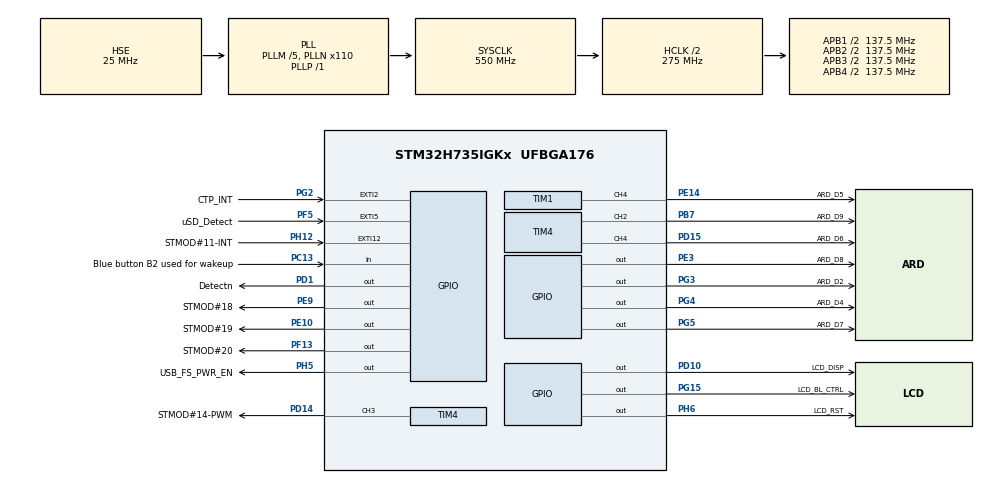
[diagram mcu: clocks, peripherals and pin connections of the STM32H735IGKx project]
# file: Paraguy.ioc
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Mcu.Family=STM32H7
Mcu.Name=STM32H735IGKx
Mcu.Package=UFBGA176
NVIC.PriorityGroup=NVIC_PRIORITYGROUP_4
PA0_C.GPIO_Label=ARD_A2
PA0_C.Signal=ADCx_INP0
PA1.GPIO_Label=RMII_REF_CLK
PA1.GPIO_Speed=GPIO_SPEED_FREQ_LOW
PA1.Signal=ETH_REF_CLK
PA10.GPIO_Label=USB_FS_ID
PA10.Signal=USB_OTG_HS_ID
PA11.GPIO_Label=USB_FS_DM
PA11.Signal=USB_OTG_HS_DM
PA12.GPIO_Label=USB_FS_DP
PA12.Signal=USB_OTG_HS_DP
PA13(JTMS/SWDIO).GPIO_Label=JTMS
PA13(JTMS/SWDIO).Mode=Trace_Asynchronous_SW
PA13(JTMS/SWDIO).Signal=DEBUG_JTMS-SWDIO
PA14(JTCK/SWCLK).GPIO_Label=JTCK
PA14(JTCK/SWCLK).Mode=Trace_Asynchronous_SW
PA14(JTCK/SWCLK).Signal=DEBUG_JTCK-SWCLK
PA15(JTDI).GPIO_Label=JTDI
PA15(JTDI).Signal=DEBUG_JTDI
PA1_C.GPIO_Label=ARD_A3
PA1_C.Signal=ADCx_INP1
PA2.GPIO_Label=RMII_MDIO
PA2.GPIO_Speed=GPIO_SPEED_FREQ_LOW
PA2.Signal=ETH_MDIO
PA3.GPIO_Label=LCD_B5
PA3.GPIO_Speed=GPIO_SPEED_FREQ_LOW
PA3.Signal=LTDC_B5
PA4.GPIO_Label=LCD_VSYNC
PA4.GPIO_Speed=GPIO_SPEED_FREQ_LOW
PA4.Signal=LTDC_VSYNC
PA5.GPIO_Label=DAC1_OUT2
PA5.Signal=COMP_DAC12_group
PA6.GPIO_Label=LCD_G2
PA6.GPIO_Speed=GPIO_SPEED_FREQ_LOW
PA6.Signal=LTDC_G2
PA8.GPIO_Label=LCD_B3
PA8.GPIO_Speed=GPIO_SPEED_FREQ_LOW
PA8.Signal=LTDC_B3
PA9.GPIO_Label=USB_FS_VBUS
PA9.Signal=USB_OTG_HS_VBUS
PB0.GPIO_Label=LCD_G1
PB0.GPIO_Speed=GPIO_SPEED_FREQ_LOW
PB0.Signal=LTDC_G1
PB1.GPIO_Label=LCD_G0
PB1.GPIO_Speed=GPIO_SPEED_FREQ_LOW
PB1.Signal=LTDC_G0
PB10.GPIO_Label=RMII_RX_ER
PB10.Signal=ETH_RX_ER
PB11.GPIO_Label=RMII_TX_EN
PB11.GPIO_Speed=GPIO_SPEED_FREQ_LOW
PB11.Signal=ETH_TX_EN
PB13.GPIO_Label=RMII_TXD1
PB13.GPIO_Speed=GPIO_SPEED_FREQ_LOW
PB13.Signal=ETH_TXD1
PB14.GPIO_Label=ARD_D1
PB14.GPIO_PuPd=GPIO_NOPULL
PB14.Signal=USART1_TX
PB15.GPIO_Label=ARD_D0
PB15.GPIO_PuPd=GPIO_NOPULL
PB15.Signal=USART1_RX
PB2.GPIO_Label=OCSPI1_DQS
PB2.Signal=OCTOSPIM_P1_DQS
PB3(JTDO/TRACESWO).GPIO_Label=JTDO
PB3(JTDO/TRACESWO).Mode=Trace_Asynchronous_SW
PB3(JTDO/TRACESWO).Signal=DEBUG_JTDO-SWO
PB4(NJTRST).GPIO_Label=NJTRST
PB4(NJTRST).Signal=DEBUG_JTRST
PB5.GPIO_Label=FDCAN2_RX
PB5.Signal=FDCAN2_RX
PB6.GPIO_Label=FDCAN2_TX
PB6.Signal=FDCAN2_TX
PB7.GPIO_Label=ARD_D9
PB7.Signal=S_TIM4_CH2
PB8.GPIO_Label=LCD_B6
PB8.GPIO_Speed=GPIO_SPEED_FREQ_LOW
PB8.Signal=LTDC_B6
PB9.GPIO_Label=LCD_B7
PB9.GPIO_Speed=GPIO_SPEED_FREQ_LOW
PB9.Signal=LTDC_B7
PC0.GPIO_Label=ARD_A0
PC0.Signal=ADCx_INP10
PC1.GPIO_Label=RMII_MDC
PC1.GPIO_Speed=GPIO_SPEED_FREQ_LOW
PC1.Signal=ETH_MDC
PC10.GPIO_Label=SDIO1_D2
PC10.Signal=SDMMC1_D2
PC11.GPIO_Label=SDIO1_D3
PC11.Signal=SDMMC1_D3
PC12.GPIO_Label=SDIO1_CK
PC12.Signal=SDMMC1_CK
PC13.GPIO_Label=Blue button B2 used for wakeup
PC13.Signal=GPIO_Input
PC14-OSC32_IN.Mode=LSE-External-Oscillator
PC14-OSC32_IN.Signal=RCC_OSC32_IN
PC15-OSC32_OUT.Mode=LSE-External-Oscillator
PC15-OSC32_OUT.Signal=RCC_OSC32_OUT
PC2.Signal=S_CKOUTDFSDM1
PC2_C.GPIO_Label=ARD_A4
PC2_C.Signal=ADC3_INP0
PC3.Signal=S_DATAIN1DFSDM1
PC3_C.GPIO_Label=ARD_A5
PC3_C.Signal=ADC3_INP1
PC4.GPIO_Label=RMII_RXD0
PC4.GPIO_Speed=GPIO_SPEED_FREQ_LOW
PC4.Signal=ETH_RXD0
PC5.GPIO_Label=RMII_RXD1
PC5.GPIO_Speed=GPIO_SPEED_FREQ_LOW
PC5.Signal=ETH_RXD1
PC6.GPIO_Label=LCD_HSYNC
PC6.GPIO_Speed=GPIO_SPEED_FREQ_LOW
PC6.Signal=LTDC_HSYNC
PC7.GPIO_Label=LCD_G6
PC7.GPIO_Speed=GPIO_SPEED_FREQ_LOW
PC7.Signal=LTDC_G6
PC8.GPIO_Label=SDIO1_D0
PC8.Signal=SDMMC1_D0
PC9.GPIO_Label=SDIO1_D1
PC9.Signal=SDMMC1_D1
PD0.GPIO_Label=LCD_B1
PD0.GPIO_Speed=GPIO_SPEED_FREQ_LOW
PD0.Signal=LTDC_B1
PD1.GPIO_Label=Detectn
PD1.GPIO_PuPd=GPIO_NOPULL
PD1.Signal=GPIO_Output
PD10.GPIO_Label=LCD_DISP
PD10.GPIO_Speed=GPIO_SPEED_FREQ_LOW
PD10.Signal=GPIO_Output
PD11.GPIO_Label=OCSPI1_IO0
PD11.Signal=OCTOSPIM_P1_IO0
PD12.GPIO_Label=OCSPI1_IO1
PD12.Signal=OCTOSPIM_P1_IO1
PD13.GPIO_Label=OCSPI1_IO3
PD13.Signal=OCTOSPIM_P1_IO3
PD14.GPIO_Label=STMOD\#14-PWM
PD14.Signal=S_TIM4_CH3
PD15.GPIO_Label=ARD_D6
PD15.Signal=S_TIM4_CH4
PD2.GPIO_Label=SDIO1_CMD
PD2.Signal=SDMMC1_CMD
PD3.GPIO_Label=LCD_G7
PD3.GPIO_Speed=GPIO_SPEED_FREQ_LOW
PD3.Signal=LTDC_G7
PD4.GPIO_Label=OCSPI1_IO4
PD4.Signal=OCTOSPIM_P1_IO4
PD5.GPIO_Label=OCSPI1_IO5
PD5.Signal=OCTOSPIM_P1_IO5
PD6.GPIO_Label=LCD_B2
PD6.GPIO_Speed=GPIO_SPEED_FREQ_LOW
PD6.Signal=LTDC_B2
PD7.GPIO_Label=OCSPI1_IO7
PD7.Signal=OCTOSPIM_P1_IO7
PD8.GPIO_Label=T_VCP_TX
PD8.GPIO_PuPd=GPIO_NOPULL
PD8.Signal=USART3_TX
PD9.GPIO_Label=T_VCP_RX
PD9.GPIO_PuPd=GPIO_NOPULL
PD9.Signal=USART3_RX
PE0.GPIO_Label=LCD_R0
PE0.GPIO_Speed=GPIO_SPEED_FREQ_LOW
PE0.Signal=LTDC_R0
PE1.GPIO_Label=LCD_R6
PE1.GPIO_Speed=GPIO_SPEED_FREQ_LOW
PE1.Signal=LTDC_R6
PE10.GPIO_Label=STMOD\#19
PE10.Signal=GPIO_Output
PE11.GPIO_Label=LCD_G3
PE11.GPIO_Speed=GPIO_SPEED_FREQ_LOW
PE11.Signal=LTDC_G3
PE12.GPIO_Label=LCD_B4
PE12.GPIO_Speed=GPIO_SPEED_FREQ_LOW
PE12.Signal=LTDC_B4
PE13.GPIO_Label=LCD_DE
PE13.GPIO_Speed=GPIO_SPEED_FREQ_LOW
PE13.Signal=LTDC_DE
PE14.GPIO_Label=ARD_D5
PE14.Signal=S_TIM1_CH4
PE15.GPIO_Label=LCD_R7
PE15.GPIO_Speed=GPIO_SPEED_FREQ_LOW
PE15.Signal=LTDC_R7
PE2.GPIO_Label=OCSPI1_IO2
PE2.Signal=OCTOSPIM_P1_IO2
PE3.GPIO_Label=ARD_D8
PE3.Signal=GPIO_Output
PE4.GPIO_Label=SAI4_D2
PE4.Signal=SAI4_D2
PE5.GPIO_Label=SAI4_CK2
PE5.Signal=SAI4_CK2
PE6.GPIO_Label=SAI1_SD_A
PE6.Signal=SAI1_SD_A
PE9.GPIO_Label=STMOD\#18
PE9.Signal=GPIO_Output
PF0.GPIO_Label=OCSPI2_IO0
PF0.Signal=OCTOSPIM_P2_IO0
PF1.GPIO_Label=OCSPI2_IO1
PF1.Signal=OCTOSPIM_P2_IO1
PF10.GPIO_Label=OCSPI1_CLK
PF10.Signal=OCTOSPIM_P1_CLK
PF11.GPIO_Label=SPI5_MOSI
PF11.Signal=SPI5_MOSI
PF12.GPIO_Label=OCSPI2_DQS
PF12.Signal=OCTOSPIM_P2_DQS
PF13.GPIO_Label=STMOD\#20
PF13.Signal=GPIO_Output
PF14.GPIO_Label=I2C4_SCL
PF14.GPIO_Pu=GPIO_PULLUP
PF14.Signal=I2C4_SCL
PF15.GPIO_Label=I2C4_SDA
PF15.GPIO_Pu=GPIO_PULLUP
PF15.Signal=I2C4_SDA
PF2.GPIO_Label=OCSPI2_IO2
PF2.Signal=OCTOSPIM_P2_IO2
PF3.GPIO_Label=OCSPI2_IO3
PF3.Signal=OCTOSPIM_P2_IO3
PF4.GPIO_Label=OCSPI2_CLK
PF4.Signal=OCTOSPIM_P2_CLK
PF5.GPIO_Label=uSD_Detect
PF5.Signal=GPXTI5
PF6.GPIO_Label=SAI1_SD_B
PF6.Signal=SAI1_SD_B
PF7.GPIO_Label=SAI1_MCLK_B
PF7.Signal=SAI1_MCLK_B
PF8.GPIO_Label=SAI1_SCK_B
PF8.Signal=SAI1_SCK_B
PF9.GPIO_Label=SAI1_FS_B
PF9.Signal=SAI1_FS_B
PG0.GPIO_Label=OCSPI2_IO4
PG0.Signal=OCTOSPIM_P2_IO4
PG1.GPIO_Label=OCSPI2_IO5
PG1.Signal=OCTOSPIM_P2_IO5
PG10.GPIO_Label=OCSPI2_IO6
PG10.Signal=OCTOSPIM_P2_IO6
PG11.GPIO_Label=OCSPI2_IO7
PG11.Signal=OCTOSPIM_P2_IO7
PG12.GPIO_Label=OCSPI2_NCS
PG12.Signal=OCTOSPIM_P2_NCS
PG14.GPIO_Label=LCD_B0
PG14.GPIO_Speed=GPIO_SPEED_FREQ_LOW
PG14.Signal=LTDC_B0
PG15.GPIO_Label=LCD_BL_CTRL
PG15.GPIO_Speed=GPIO_SPEED_FREQ_LOW
PG15.Signal=GPIO_Output
PG2.GPIO_Label=CTP_INT
PG2.Signal=GPXTI2
PG3.GPIO_Label=ARD_D2
PG3.Signal=GPIO_Output
PG4.GPIO_Label=ARD_D4
PG4.Signal=GPIO_Output
PG5.GPIO_Label=ARD_D7
PG5.Signal=GPIO_Output
PG6.GPIO_Label=OCSPI1_NCS
PG6.Signal=OCTOSPIM_P1_NCS
PG7.GPIO_Label=LCD_CLK
PG7.GPIO_Speed=GPIO_SPEED_FREQ_LOW
PG7.Signal=LTDC_CLK
PG9.GPIO_Label=OCSPI1_IO6
PG9.Signal=OCTOSPIM_P1_IO6
PH0-OSC_IN.Mode=HSE-External-Oscillator
PH0-OSC_IN.Signal=RCC_OSC_IN
PH1-OSC_OUT.Mode=HSE-External-Oscillator
PH1-OSC_OUT.Signal=RCC_OSC_OUT
PH10.GPIO_Label=LCD_R4
PH10.GPIO_Speed=GPIO_SPEED_FREQ_LOW
PH10.Signal=LTDC_R4
PH11.GPIO_Label=LCD_R5
PH11.GPIO_Speed=GPIO_SPEED_FREQ_LOW
PH11.Signal=LTDC_R5
PH12.GPIO_Label=STMOD\#11-INT
PH12.Signal=GPXTI12
PH13.GPIO_Label=FDCAN1_TX
PH13.Signal=FDCAN1_TX
PH14.GPIO_Label=FDCAN1_RX
PH14.Signal=FDCAN1_RX
PH15.GPIO_Label=LCD_G4
PH15.GPIO_Speed=GPIO_SPEED_FREQ_LOW
PH15.Signal=LTDC_G4
PH2.GPIO_Label=ARD_A1
PH2.Signal=ADC3_INP13
PH3.GPIO_Label=LCD_R1
PH3.GPIO_Speed=GPIO_SPEED_FREQ_LOW
PH3.Signal=LTDC_R1
PH4.GPIO_Label=LCD_G5
PH4.GPIO_Speed=GPIO_SPEED_FREQ_LOW
PH4.Signal=LTDC_G5
PH5.GPIO_Label=USB_FS_PWR_EN
PH5.Signal=GPIO_Output
PH6.GPIO_Label=LCD_RST
PH6.GPIO_Speed=GPIO_SPEED_FREQ_LOW
PH6.Signal=GPIO_Output
PH7.GPIO_Label=SPI5_MISO
PH7.Signal=SPI5_MISO
PH8.GPIO_Label=LCD_R2
PH8.GPIO_Speed=GPIO_SPEED_FREQ_LOW
PH8.Signal=LTDC_R2
PH9.GPIO_Label=LCD_R3
PH9.GPIO_Speed=GPIO_SPEED_FREQ_LOW
PH9.Signal=LTDC_R3
ProjectManager.HeapSize=0x200
ProjectManager.StackSize=0x400
ProjectManager.TargetToolchain=STM32CubeIDE
RCC.ADCFreq_Value=80000000
RCC.APB1Freq_Value=137500000
RCC.APB2Freq_Value=137500000
RCC.APB3Freq_Value=137500000
RCC.APB4Freq_Value=137500000
RCC.CortexFreq_Value=550000000
RCC.D1PPRE=RCC_APB3_DIV2
RCC.D2PPRE1=RCC_APB1_DIV2
RCC.D2PPRE2=RCC_APB2_DIV2
RCC.D3PPRE=RCC_APB4_DIV2
RCC.DIVM1=5
RCC.DIVM2=5
RCC.DIVM3=5
RCC.DIVN1=110
RCC.DIVN2=80
RCC.DIVN3=48
RCC.DIVP1=1
RCC.DIVP2=5
RCC.DIVQ1=4
RCC.DIVR3=25
RCC.HCLKFreq_Value=275000000
RCC.HPRE=RCC_HCLK_DIV2
RCC.PLL2FRACN=0
RCC.PLL3FRACN=0
RCC.PLLFRACN=0
RCC.PLLSourceVirtual=RCC_PLLSOURCE_HSE
RCC.SYSCLKFreq_VALUE=550000000
RCC.SYSCLKSource=RCC_SYSCLKSOURCE_PLLCLK
RCC.USBCLockSelection=RCC_USBCLKSOURCE_HSI48
RCC.USBFreq_Value=48000000
SH.ADCx_INP0.0=ADC1_INP0
SH.ADCx_INP0.1=ADC2_INP0
SH.ADCx_INP1.0=ADC2_INP1
SH.ADCx_INP1.1=ADC1_INP1
SH.ADCx_INP10.0=ADC1_INP10
SH.COMP_DAC12_group.0=DAC1_OUT2
SH.S_CKOUTDFSDM1.0=DFSDM1_CKOUT
SH.S_DATAIN1DFSDM1.0=DFSDM1_DATIN1
SH.S_TIM1_CH4.0=TIM1_CH4,PWM Generation4 CH4
SH.S_TIM4_CH2.0=TIM4_CH2,PWM Generation2 CH2
SH.S_TIM4_CH3.0=TIM4_CH3,PWM Generation3 CH3
SH.S_TIM4_CH4.0=TIM4_CH4,PWM Generation4 CH4
TIM1.Channel-PWM\ Generation4\ CH4=TIM_CHANNEL_4
TIM4.Channel-PWM\ Generation2\ CH2=TIM_CHANNEL_2
TIM4.Channel-PWM\ Generation3\ CH3=TIM_CHANNEL_3
TIM4.Channel-PWM\ Generation4\ CH4=TIM_CHANNEL_4
VP_MEMORYMAP_VS_MEMORYMAP.Mode=CurAppReg
board=STM32H735G-DK

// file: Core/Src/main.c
/* USER CODE BEGIN Header */
/**
  ******************************************************************************
  * @file           : main.c
  * @brief          : Main program body
  ******************************************************************************
  * @attention
  *
  * Copyright (c) 2026 STMicroelectronics.
  * All rights reserved.
  *
  * This software is licensed under terms that can be found in the LICENSE file
  * in the root directory of this software component.
  * If no LICENSE file comes with this software, it is provided AS-IS.
  *
  ******************************************************************************
  */
/* USER CODE END Header */
#include "main.h"
#include "tim.h"
#include "gpio.h"

/* USER CODE BEGIN Includes */
#include "stm32h735g_discovery.h"
#include "stm32h735g_discovery_lcd.h"
#include "stm32h735g_discovery_ospi.h"
#include <string.h>

/* USER CODE END Includes */

void SystemClock_Config(void);

int main(void)
{

  /* USER CODE BEGIN 1 */
	MPU_Config();
  /* USER CODE END 1 */

  /* MCU Configuration--------------------------------------------------------*/

  /* Reset of all peripherals, Initializes the Flash interface and the Systick. */
  HAL_Init();

  /* Configure the system clock */
  SystemClock_Config();

  /* Initialize all configured peripherals */
  MX_GPIO_Init();
  MX_TIM1_Init();
  MX_TIM4_Init();
  /* USER CODE BEGIN 2 */
  BSP_OSPI_RAM_Init_t OspiRamInit;
  OspiRamInit.LatencyType = BSP_OSPI_RAM_FIXED_LATENCY;
  // Try adding _TYPE_ in the middle
  OspiRamInit.BurstType = BSP_OSPI_RAM_LINEAR_BURST;
  OspiRamInit.BurstLength = BSP_OSPI_RAM_BURST_32_BYTES;

  if(BSP_OSPI_RAM_Init(0, &OspiRamInit) != BSP_ERROR_NONE)
  {
    Error_Handler(); // Stop here if RAM fails
  }

  BSP_LCD_Init(0, LCD_ORIENTATION_LANDSCAPE);
  BSP_LCD_DisplayOn(0);
  BSP_LCD_SetBrightness(0, 100);
  BSP_LCD_SetActiveLayer(0, 0);

  uint32_t xSize, ySize;

  BSP_LCD_GetXSize(0, &xSize);
  BSP_LCD_GetYSize(0, &ySize);

  BSP_LCD_FillRect(
      0,                      // Instance
      0,                      // X
      0,                      // Y
      xSize,                  // Width
      ySize,                  // Height
      LCD_COLOR_RGB565_RED    // Color
  );

  BSP_LCD_Relaod(0, BSP_LCD_RELOAD_IMMEDIATE);

  /* USER CODE END 2 */

  /* Infinite loop */
  while (1)
  {

  }
}

void SystemClock_Config(void)
{
  RCC_OscInitTypeDef RCC_OscInitStruct = {0};
  RCC_ClkInitTypeDef RCC_ClkInitStruct = {0};

  /** Supply configuration update enable
  */
  HAL_PWREx_ConfigSupply(PWR_DIRECT_SMPS_SUPPLY);

  /** Configure the main internal regulator output voltage
  */
  __HAL_PWR_VOLTAGESCALING_CONFIG(PWR_REGULATOR_VOLTAGE_SCALE0);

  while(!__HAL_PWR_GET_FLAG(PWR_FLAG_VOSRDY)) {}

  /** Initializes the RCC Oscillators according to the specified parameters
  * in the RCC_OscInitTypeDef structure.
  */
  RCC_OscInitStruct.OscillatorType = RCC_OSCILLATORTYPE_HSE;
  RCC_OscInitStruct.HSEState = RCC_HSE_ON;
  RCC_OscInitStruct.PLL.PLLState = RCC_PLL_ON;
  RCC_OscInitStruct.PLL.PLLSource = RCC_PLLSOURCE_HSE;
  RCC_OscInitStruct.PLL.PLLM = 5;
  RCC_OscInitStruct.PLL.PLLN = 110;
  RCC_OscInitStruct.PLL.PLLP = 1;
  RCC_OscInitStruct.PLL.PLLQ = 4;
  RCC_OscInitStruct.PLL.PLLR = 2;
  RCC_OscInitStruct.PLL.PLLRGE = RCC_PLL1VCIRANGE_2;
  RCC_OscInitStruct.PLL.PLLVCOSEL = RCC_PLL1VCOWIDE;
  RCC_OscInitStruct.PLL.PLLFRACN = 0;
  if (HAL_RCC_OscConfig(&RCC_OscInitStruct) != HAL_OK)
  {
    Error_Handler();
  }

  /** Initializes the CPU, AHB and APB buses clocks
  */
  RCC_ClkInitStruct.ClockType = RCC_CLOCKTYPE_HCLK|RCC_CLOCKTYPE_SYSCLK
                              |RCC_CLOCKTYPE_PCLK1|RCC_CLOCKTYPE_PCLK2
                              |RCC_CLOCKTYPE_D3PCLK1|RCC_CLOCKTYPE_D1PCLK1;
  RCC_ClkInitStruct.SYSCLKSource = RCC_SYSCLKSOURCE_PLLCLK;
  RCC_ClkInitStruct.SYSCLKDivider = RCC_SYSCLK_DIV1;
  RCC_ClkInitStruct.AHBCLKDivider = RCC_HCLK_DIV2;
  RCC_ClkInitStruct.APB3CLKDivider = RCC_APB3_DIV2;
  RCC_ClkInitStruct.APB1CLKDivider = RCC_APB1_DIV2;
  RCC_ClkInitStruct.APB2CLKDivider = RCC_APB2_DIV2;
  RCC_ClkInitStruct.APB4CLKDivider = RCC_APB4_DIV2;

  if (HAL_RCC_ClockConfig(&RCC_ClkInitStruct, FLASH_LATENCY_3) != HAL_OK)
  {
    Error_Handler();
  }
}

/* USER CODE BEGIN 4 */

void MPU_Config(void)
{
  MPU_Region_InitTypeDef MPU_InitStruct = {0};

  /* Disable the MPU */
  HAL_MPU_Disable();

  /* Configure the MPU attributes for the OctoSPI RAM (LCD Framebuffer)
     The OctoSPI RAM is usually mapped at 0x70000000 for STM32H7 */
  MPU_InitStruct.Enable = MPU_REGION_ENABLE;
  MPU_InitStruct.Number = MPU_REGION_NUMBER0;
  MPU_InitStruct.BaseAddress = 0x70000000; // OctoSPI base address
  MPU_InitStruct.Size = MPU_REGION_SIZE_256MB; // Cover the whole area
  MPU_InitStruct.SubRegionDisable = 0x0;
  MPU_InitStruct.TypeExtField = MPU_TEX_LEVEL0;
  MPU_InitStruct.AccessPermission = MPU_REGION_FULL_ACCESS;
  MPU_InitStruct.DisableExec = MPU_INSTRUCTION_ACCESS_DISABLE;

  /* IMPORTANT: Configure as "Device" or "Strongly Ordered" or "Normal Non-Cacheable"
     to prevent Cache coherency issues with the LCD DMA */
  MPU_InitStruct.IsShareable = MPU_ACCESS_NOT_SHAREABLE;
  MPU_InitStruct.IsCacheable = MPU_ACCESS_NOT_CACHEABLE;
  MPU_InitStruct.IsBufferable = MPU_ACCESS_NOT_BUFFERABLE;

  HAL_MPU_ConfigRegion(&MPU_InitStruct);

  /* Enable the MPU */
  HAL_MPU_Enable(MPU_PRIVILEGED_DEFAULT);
}

/* USER CODE END 4 */

void Error_Handler(void)
{
  __disable_irq();
  while (1)
  {
  }
}
